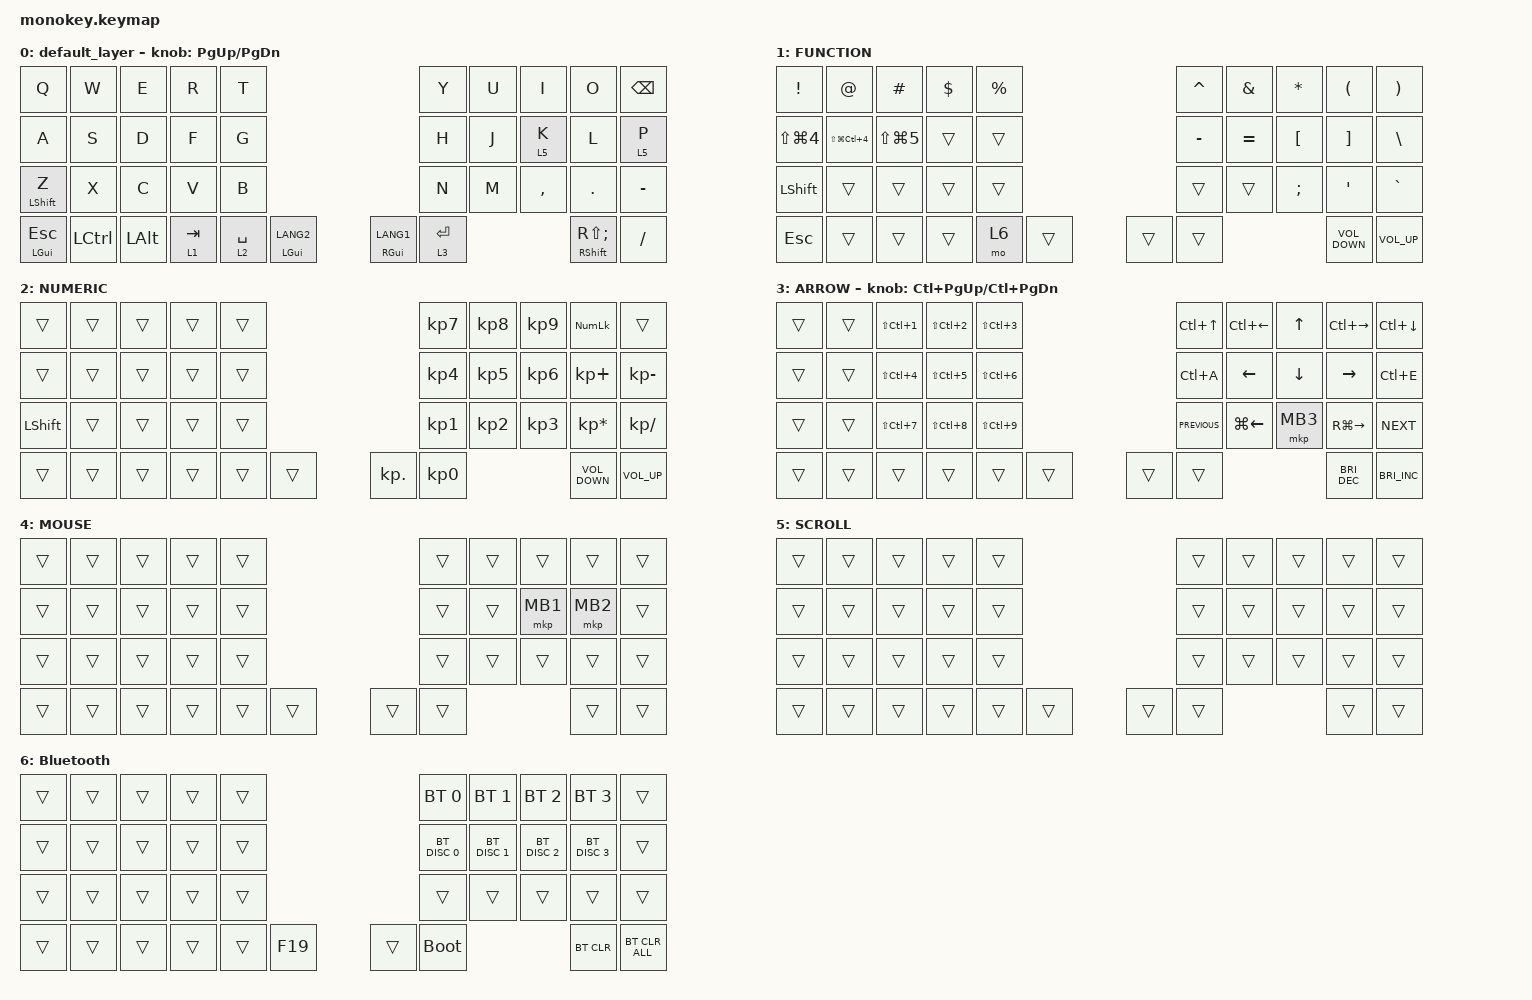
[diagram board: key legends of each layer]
#include <behaviors.dtsi>
#include <dt-bindings/zmk/bt.h>
#include <dt-bindings/zmk/keys.h>
#include <dt-bindings/zmk/pointing.h>
#include <behaviors/mouse_keys.dtsi>
#include <dt-bindings/zmk/input_transform.h>
#include <input/processors.dtsi>
#include <dt-bindings/input/input-event-codes.h>

/* 加速設定 */
&mmv {
    time-to-max-speed-ms = <500>;
    acceleration-exponent = <1>;
};

&msc {
    time-to-max-speed-ms = <500>;
    acceleration-exponent = <0>;
};

&mt {
    flavor = "balanced";
    quick-tap-ms = <200>;
};

&lt { quick-tap-ms = <200>; };

/ {
    chosen { };

    combos {
        compatible = "zmk,combos";
        /* 17+18キー同時押しでスクロールレイヤー(5)へ */
        scroll { bindings = <&mo 5>; key-positions = <17 18>; };
        /* 18+19キー同時押しでマウス中クリック */
        mb3 { bindings = <&mkp MB3>; key-positions = <18 19>; };
    };

    behaviors {
        right_click: right_click_behavior {
            compatible = "zmk,behavior-mouse-key";
            label = "RIGHT_CLICK";
            #binding-cells = <0>;
            bindings = <&mkp MB2>;
        };

        /* AML作動中に点灯させるLEDの設定 */
        aml_led: aml_led {
            compatible = "zmk,behavior-layer-led";
            #binding-cells = <0>;
            layers = <4>; /* MOUSEレイヤー(4)で作動 */
            leds = <&led0>; /* monokey.dtsiのaliasを使用 */
        };
    };

    /* 🌟 トラックボールの物理入力リスナー：標準的な数値指定に戻しました */
    trackball_listener {
        compatible = "zmk,input-listener";
        device = <&trackball_split>;

        input-processors = 
            <&zip_xy_transform (INPUT_TRANSFORM_XY_SWAP | INPUT_TRANSFORM_X_INVERT)>,
            <&zip_temp_layer 4 2000>;
    };

    /* トラックボールの動きに合わせてAML LEDを制御 */
    trackball_led_listener {
        compatible = "zmk,input-behavior-listener";
        device = <&trackball_split>;
        layers = <0 1 2 3 4 5 6>;
        evt-type = <INPUT_EV_REL>;
        x; y;
        bindings = <&aml_led>;
    };

    keymap {
        compatible = "zmk,keymap";

        default_layer {
            bindings = <
&kp Q         &kp W      &kp E     &kp R      &kp T                                        &kp Y        &kp U  &kp I      &kp O      &kp BACKSPACE
&kp A         &kp S      &kp D     &kp F      &kp G                                        &kp H        &kp J  &lt 5 K    &kp L      &lt 5 P
&mt LSHFT Z   &kp X      &kp C     &kp V      &kp B                                        &kp N        &kp M  &kp COMMA  &kp PERIOD &kp MINUS
&mt LGUI ESC  &kp LCTRL  &kp LALT  &lt 1 TAB  &lt 2 SPACE  &mt LGUI LANG2  &mt RGUI LANG1  &lt 3 ENTER             &mt RSHFT RS(SEMICOLON)  &kp SLASH
            >;
            sensor-bindings = <&inc_dec_kp PG_UP PAGE_DOWN>;
        };

        FUNCTION {
            bindings = <
&kp EXCLAMATION       &kp AT_SIGN               &kp HASH        &kp DOLLAR  &kp PERCENT                  &kp CARET  &kp AMPERSAND  &kp ASTERISK      &kp LEFT_PARENTHESIS  &kp RIGHT_PARENTHESIS
&kp LS(LG(NUMBER_4))  &kp LS(LG(LC(NUMBER_4)))  &kp LS(LG(N5))  &trans      &trans                       &kp MINUS  &kp EQUAL      &kp LEFT_BRACKET  &kp RIGHT_BRACKET     &kp BACKSLASH
&kp LEFT_SHIFT        &trans                    &trans          &trans      &trans                       &trans     &trans         &kp SEMICOLON     &kp SINGLE_QUOTE      &kp GRAVE
&kp ESCAPE            &trans                    &trans          &trans      &mo 6        &trans  &trans  &trans                                      &kp C_VOLUME_DOWN     &kp C_VOLUME_UP
            >;
        } ;

        NUMERIC {
            bindings = <
&trans          &trans  &trans  &trans  &trans                      &kp KP_N7        &kp KP_N8  &kp KP_N9  &kp KP_NUMLOCK     &trans
&trans          &trans  &trans  &trans  &trans                      &kp KP_N4        &kp KP_N5  &kp KP_N6  &kp KP_PLUS        &kp KP_MINUS
&kp LEFT_SHIFT  &trans  &trans  &trans  &trans                      &kp KP_NUMBER_1  &kp KP_N2  &kp KP_N3  &kp KP_MULTIPLY    &kp KP_DIVIDE
&trans          &trans  &trans  &trans  &trans  &trans  &kp KP_DOT  &kp KP_N0                              &kp C_VOLUME_DOWN  &kp C_VOLUME_UP
            >;
        };

        ARROW {
            bindings = <
&trans  &trans  &kp LS(LC(NUMBER_1))  &kp LS(LC(NUMBER_2))  &kp LS(LC(NUMBER_3))                  &kp LC(UP_ARROW)  &kp LC(LEFT_ARROW)  &kp UP_ARROW    &kp LC(RIGHT)    &kp LC(DOWN_ARROW)
&trans  &trans  &kp LS(LC(NUMBER_4))  &kp LS(LC(N5))        &kp LS(LC(NUMBER_6))                  &kp LC(A)         &kp LEFT_ARROW      &kp DOWN_ARROW  &kp RIGHT_ARROW  &kp LC(E)
&trans  &trans  &kp LS(LC(N7))        &kp LS(LC(N8))        &kp LS(LC(N9))                        &kp C_PREVIOUS    &kp LG(LEFT)        &mkp MB3        &kp RG(RIGHT)    &kp C_NEXT
&trans  &trans  &trans                &trans                &trans                &trans  &trans  &trans                                                &kp C_BRI_DEC    &kp C_BRI_INC
            >;
            sensor-bindings = <&inc_dec_kp LC(PAGE_UP) LC(PAGE_DOWN)>;
        };

        MOUSE {
            bindings = <
&trans  &trans  &trans  &trans  &trans                  &trans  &trans  &trans    &trans    &trans
&trans  &trans  &trans  &trans  &trans                  &trans  &trans  &mkp MB1  &mkp MB2  &trans
&trans  &trans  &trans  &trans  &trans                  &trans  &trans  &trans    &trans    &trans
&trans  &trans  &trans  &trans  &trans  &trans  &trans  &trans                    &trans    &trans
            >;
        };

        SCROLL {
            bindings = <
&trans  &trans  &trans  &trans  &trans                  &trans  &trans  &trans  &trans  &trans
&trans  &trans  &trans  &trans  &trans                  &trans  &trans  &trans  &trans  &trans
&trans  &trans  &trans  &trans  &trans                  &trans  &trans  &trans  &trans  &trans
&trans  &trans  &trans  &trans  &trans  &trans  &trans  &trans                  &trans  &trans
            >;
        };

        Bluetooth {
            bindings = <
&trans  &trans  &trans  &trans  &trans                   &bt BT_SEL 0   &bt BT_SEL 1   &bt BT_SEL 2   &bt BT_SEL 3   &trans
&trans  &trans  &trans  &trans  &trans                   &bt BT_DISC 0  &bt BT_DISC 1  &bt BT_DISC 2  &bt BT_DISC 3  &trans
&trans  &trans  &trans  &trans  &trans                   &trans         &trans         &trans         &trans         &trans
&trans  &trans  &trans  &trans  &trans  &kp F19  &trans  &bootloader                   &bt BT_CLR     &bt BT_CLR_ALL
            >;
        };
    };
};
